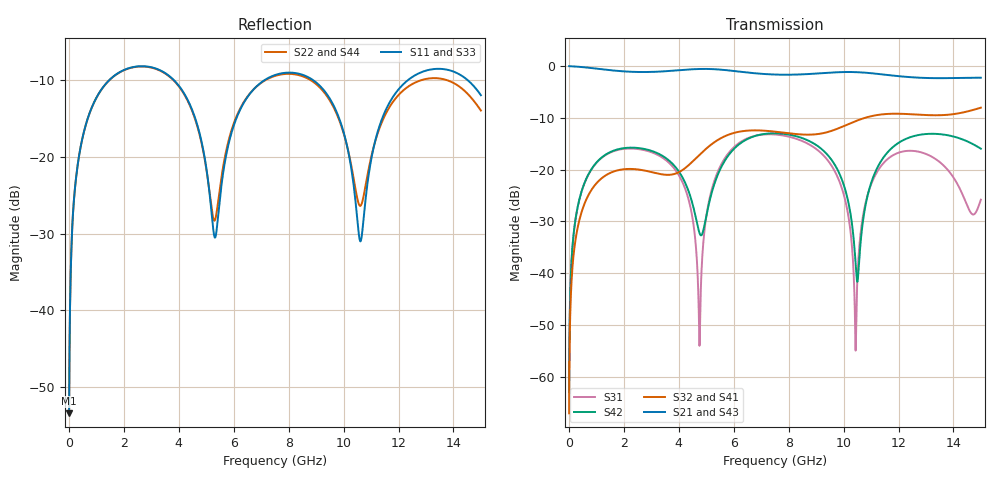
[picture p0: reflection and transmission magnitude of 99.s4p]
! Created with skrf 1.8.0 (http://scikit-rf.org).
# GHz S RI R 50.0
!freq ReS11 ImS11 ReS12 ImS12 ReS13 ImS13
! ReS14 ImS14
! ReS21 ImS21 ReS22 ImS22 ReS23 ImS23
! ReS24 ImS24
! ReS31 ImS31 ReS32 ImS32 ReS33 ImS33
! ReS34 ImS34
! ReS41 ImS41 ReS42 ImS42 ReS43 ImS43
! ReS44 ImS44
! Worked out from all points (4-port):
!   2499 points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, 5 MHz to 15 GHz, reference 50 ohm
!   strongest paths, dB at 5 MHz, 3.476 GHz, 7.19 GHz, 11.1 GHz, 15 GHz:
!     S21: 0.0, -1.0, -1.6, -1.4, -2.2
!     S43: 0.0, -1.0, -1.6, -1.4, -2.3
!     S32: -67.1, -21.0, -12.5, -9.6, -8.0
!     S41: -67.1, -21.0, -12.5, -9.6, -8.0
!     S42: -63.1, -17.6, -13.1, -21.2, -16.0
!     S31: -63.1, -18.0, -13.2, -21.7, -25.8
!   lowest |S11| = -53.5 dB at 5 MHz (marker M1), VSWR 1.00, Z = 50.2 + j0.128 ohm
!   |S11| at or under -10 dB: start of sweep to 1.453 GHz; 3.834 GHz to 7.101 GHz (3.267 GHz wide, 59.8 % of centre); 8.908 GHz to 12.33 GHz (3.419 GHz wide, 32.2 % of centre) (the widest 3 of 4)
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0.005  0.00169 0.00128  0.9983 -0.00329  8.6e-05 0.000698  -8.34e-05 -0.000433
       0.9983 -0.00329  0.00169 0.00128  -8.34e-05 -0.000433  8.61e-05 0.000698
       8.6e-05 0.000698  -8.34e-05 -0.000433  0.00169 0.00128  0.9983 -0.00329
       -8.34e-05 -0.000433  8.61e-05 0.000698  0.9983 -0.00329  0.00169 0.00128
1.619545  0.2925 0.1661  0.4989 -0.7567  0.1376 0.0606  -0.0955 0.0025
          0.4989 -0.7567  0.2905 0.1676  -0.0956 0.00257  0.1428 0.0527
          0.1376 0.0606  -0.0956 0.00257  0.2923 0.1661  0.4989 -0.7567
          -0.0955 0.0025  0.1428 0.0527  0.4989 -0.7567  0.2904 0.1676
4.75198  0.0688 -0.1263  -0.8571 -0.3799  0.00196 0.0003  -0.0523 0.1285
         -0.8571 -0.3799  0.0757 -0.1189  -0.0516 0.1289  -0.0211 -0.0122
         0.00196 0.0003  -0.0516 0.1289  0.0679 -0.1245  -0.8576 -0.3797
         -0.0523 0.1285  -0.0211 -0.0122  -0.8576 -0.3797  0.0749 -0.1171
8.259692  0.3491 -0.0544  0.00393 0.8278  0.1856 -0.072  0.2045 -0.0805
          0.00393 0.8278  0.3431 -0.046  0.2045 -0.0827  0.1862 -0.0983
          0.1856 -0.072  0.2045 -0.0827  0.35 -0.0532  0.0023 0.8273
          0.2045 -0.0805  0.1862 -0.0983  0.0023 0.8273  0.345 -0.0458
10.4356  0.0325 -0.0394  0.8375 0.2512  0.00167 -0.000632  0.0772 -0.2834
         0.8375 0.2512  0.0515 -0.0337  0.0737 -0.2844  0.00433 -0.0118
         0.00167 -0.000632  0.0737 -0.2844  0.0322 -0.0392  0.8366 0.2544
         0.0772 -0.2834  0.00433 -0.0118  0.8366 0.2544  0.0522 -0.0333
11.61734  0.145 0.1618  0.7464 -0.3383  0.108 0.0674  -0.1719 -0.2989
          0.7464 -0.3383  0.1491 0.1395  -0.1757 -0.2971  0.1439 0.0359
          0.108 0.0674  -0.1757 -0.2971  0.1434 0.1633  0.748 -0.3345
          -0.1719 -0.2989  0.1439 0.0359  0.748 -0.3345  0.1504 0.1409
15  0.2073 -0.1459  -0.519 -0.5713  -0.048 0.0179  -0.3002 0.2595
    -0.519 -0.5713  0.1902 -0.0661  -0.2958 0.2639  -0.1193 -0.1053
    -0.048 0.0179  -0.2958 0.2639  0.2114 -0.1485  -0.5108 -0.5774
    -0.3002 0.2595  -0.1193 -0.1053  -0.5108 -0.5774  0.1955 -0.0664
